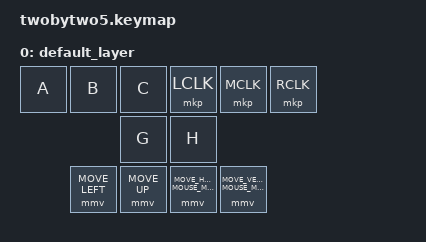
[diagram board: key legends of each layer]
#include <behaviors.dtsi>
#include <dt-bindings/zmk/keys.h>
#include <dt-bindings/zmk/mouse.h>

#define U_MOUSE_MOVE_MAX 1500
#undef MOVE_UP
#undef MOVE_DOWN
#undef MOVE_LEFT
#undef MOVE_RIGHT
#define MOVE_UP MOVE_VERT(-U_MOUSE_MOVE_MAX)
#define MOVE_DOWN MOVE_VERT(U_MOUSE_MOVE_MAX)
#define MOVE_LEFT MOVE_HOR(-U_MOUSE_MOVE_MAX)
#define MOVE_RIGHT MOVE_HOR(U_MOUSE_MOVE_MAX)

/ {
  keymap {
    compatible = "zmk,keymap";

  default_layer {

// +-----+-----+-----+   +-----+-----+-----+
// |  A  |  B  |  C  |   |  D  |  E  |  F  |
// +-----+-----+-----+   +-----+-----+-----+
// |        G        |   |        H        |
// +-----------------+   +-----------------+
//
// LEFT UP RIGHT DOWN

    bindings = <
            &kp A   &kp B  &kp C            &mkp LCLK   &mkp MCLK   &mkp RCLK
                    &kp G                                  &kp H
      &mmv MOVE_LEFT &mmv MOVE_UP &mmv MOVE_RIGHT &mmv MOVE_DOWN
    >;
    };
  };
};

&mmv {
  acceleration-exponent = <1>;
  time-to-max-speed-ms = <300>;
  delay-ms = <50>;
};
